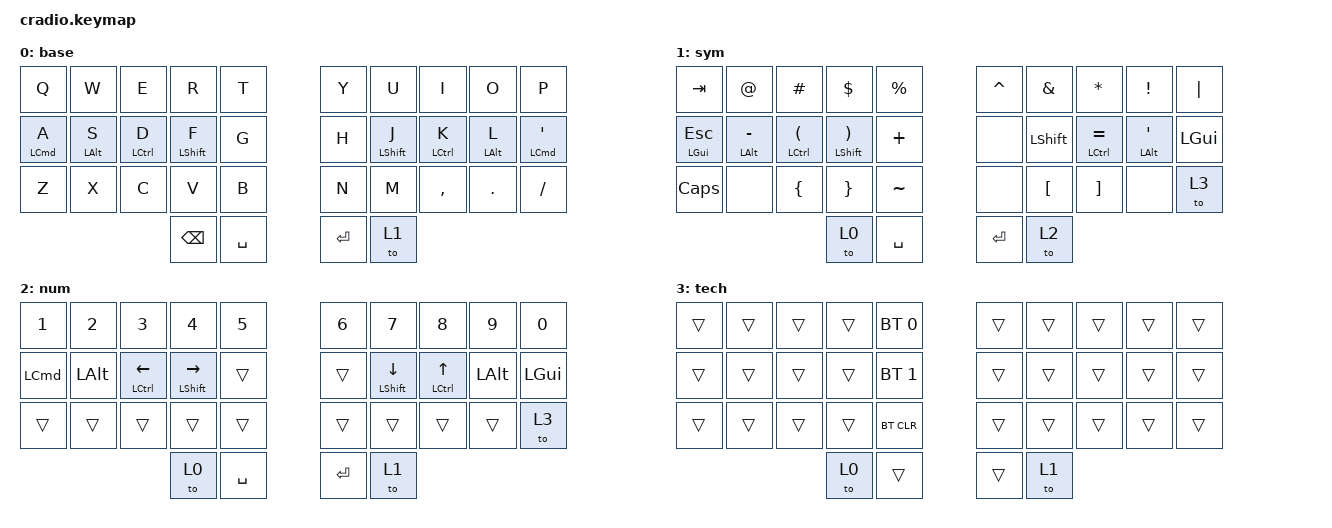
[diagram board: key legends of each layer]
// Copyright (c) 2022 The ZMK Contributors
// SPDX-License-Identifier: MIT

#include <behaviors.dtsi>
#include <dt-bindings/zmk/bt.h>
#include <dt-bindings/zmk/keys.h>

// Home row mods macro

#define HRML(k1,k2,k3,k4) &ht LSHFT k1  &ht LALT k2  &ht LCTRL k3  &ht LGUI k4
#define HRMR(k1,k2,k3,k4) &ht RGUI k1  &ht RCTRL k2  &ht RALT k3  &ht RSHFT k4

/ {
    behaviors {
        ht: ht {
            compatible = "zmk,behavior-hold-tap";
            label = "HT";
            bindings = <&kp>, <&kp>;

            #binding-cells = <2>;
            tapping-term-ms = <220>;
            quick-tap-ms = <150>;
            flavor = "tap-preferred";
        };
    };

    conditional_layers {
        compatible = "zmk,conditional-layers";

        tri_layer {
            if-layers = <2 2>;
            then-layer = <2>;
        };
    };

    keymap {
        compatible = "zmk,keymap";

        base {
            bindings = <
&kp Q       &kp W           &kp E        &kp R             &kp T        &kp Y      &kp U             &kp I        &kp O           &kp P
&ht LCMD A  &ht LEFT_ALT S  &ht LCTRL D  &ht LEFT_SHIFT F  &kp G        &kp H      &ht LEFT_SHIFT J  &ht LCTRL K  &ht LEFT_ALT L  &ht LCMD SQT
&kp Z       &kp X           &kp C        &kp V             &kp B        &kp N      &kp M             &kp COMMA    &kp DOT         &kp FSLH
                                         &kp BACKSPACE     &kp SPACE    &kp ENTER  &to 1
            >;
        };

        sym {
            bindings = <
&kp TAB       &kp AT_SIGN         &kp HASH                    &kp DOLLAR                        &kp PERCENT    &kp CARET  &kp AMPERSAND     &kp ASTERISK       &kp EXCLAMATION   &kp PIPE
&ht LGUI ESC  &ht LEFT_ALT MINUS  &ht LCTRL LEFT_PARENTHESIS  &ht LEFT_SHIFT RIGHT_PARENTHESIS  &kp PLUS       &none      &kp LSHFT         &ht LCTRL EQUAL    &ht LEFT_ALT SQT  &kp LGUI
&kp CAPS      &none               &kp LEFT_BRACE              &kp RIGHT_BRACE                   &kp TILDE      &none      &kp LEFT_BRACKET  &kp RIGHT_BRACKET  &none             &to 3
                                                              &to 0                             &kp SPACE      &kp ENTER  &to 2
            >;
        };

        num {
            bindings = <
&kp N1            &kp N2        &kp N3          &kp N4                &kp N5       &kp N6     &kp N7               &kp N8        &kp N9        &kp N0
&kp LEFT_COMMAND  &kp LEFT_ALT  &ht LCTRL LEFT  &ht LEFT_SHIFT RIGHT  &trans       &trans     &ht LEFT_SHIFT DOWN  &ht LCTRL UP  &kp LEFT_ALT  &kp LGUI
&trans            &trans        &trans          &trans                &trans       &trans     &trans               &trans        &trans        &to 3
                                                &to 0                 &kp SPACE    &kp ENTER  &to 1
            >;
        };

        tech {
            bindings = <
&trans  &trans  &trans  &trans  &bt BT_SEL 0    &trans  &trans  &trans  &trans  &trans
&trans  &trans  &trans  &trans  &bt BT_SEL 1    &trans  &trans  &trans  &trans  &trans
&trans  &trans  &trans  &trans  &bt BT_CLR      &trans  &trans  &trans  &trans  &trans
                        &to 0   &trans          &trans  &to 1
            >;
        };
    };
};
